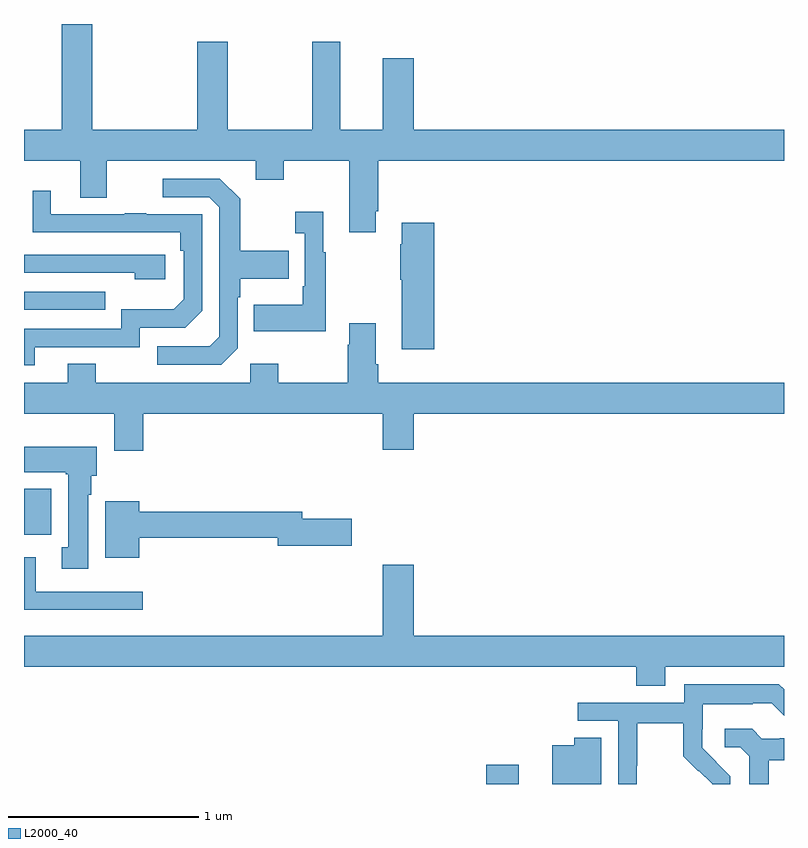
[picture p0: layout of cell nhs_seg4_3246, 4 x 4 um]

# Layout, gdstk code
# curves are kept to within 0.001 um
import gdstk
lib = gdstk.Library(unit=1e-6, precision=1e-09)
def R(c, l, rs):  # rectangles x0, y0, x1, y1
    for r in rs: c.add(gdstk.rectangle(r[:2], r[2:], *l))
def P(c, l, *ps):  # polygons
    for p in ps: c.add(gdstk.Polygon(p, *l))
L2000_40 = (2000, 40)

nhs_seg4_3246 = lib.new_cell('nhs_seg4_3246')
R(nhs_seg4_3246, L2000_40, [(285.434,766.9,285.604,767.002), (283,768.212,283.144,768.454), (283,769.395,283.427,769.491)])
P(nhs_seg4_3246, L2000_40, [(284.851,769.915),(284.864,769.915),(284.864,770.18),(287,770.18),(287,770.344),(285.052,770.344),(285.052,770.719),(284.888,770.719),(284.888,770.344),(284.665,770.344),(284.665,770.806),(284.518,770.806),(284.518,770.344),(284.073,770.344),(284.073,770.806),(283.913,770.806),(283.913,770.344),(283.358,770.344),(283.358,770.9),(283.198,770.9),(283.198,770.344),(283,770.344),(283,770.18),(283.295,770.18),(283.295,769.986),(283.435,769.986),(283.435,770.18),(284.219,770.18),(284.219,770.081),(284.367,770.081),(284.367,770.18),(284.711,770.18),(284.711,769.803),(284.851,769.803)],
  [(284.124,769.194),(284.124,769.463),(284.137,769.463),(284.137,769.559),(284.393,769.559),(284.393,769.707),(284.137,769.707),(284.137,769.979),(284.031,770.085),(283.731,770.085),(283.731,769.989),(283.974,769.989),(284.028,769.935),(284.028,769.254),(283.977,769.203),(283.701,769.203),(283.701,769.107),(284.037,769.107)],
  [(283.057,769.2),(283.608,769.2),(283.608,769.302),(283.848,769.302),(283.938,769.392),(283.938,769.899),(283.643,769.899),(283.643,769.904),(283.531,769.904),(283.531,769.899),(283.141,769.899),(283.141,770.023),(283.045,770.023),(283.045,769.804),(283.822,769.803),(283.822,769.706),(283.842,769.706),(283.842,769.452),(283.789,769.399),(283.512,769.399),(283.512,769.296),(283,769.296),(283,769.104),(283.057,769.104)],
  [(284.587,769.699),(284.575,769.699),(284.575,769.912),(284.427,769.912),(284.427,769.799),(284.478,769.799),(284.478,769.519),(284.466,769.519),(284.466,769.423),(284.209,769.423),(284.209,769.283),(284.587,769.283)],
  [(285.16,769.855),(284.987,769.855),(284.987,769.742),(284.98,769.742),(284.98,769.553),(284.987,769.553),(284.987,769.188),(285.16,769.188)],
  [(283.744,769.686),(283,769.686),(283,769.59),(283.583,769.59),(283.583,769.556),(283.744,769.556)],
  [(283.628,768.848),(284.888,768.848),(284.888,768.66),(285.052,768.66),(285.052,768.848),(287,768.848),(287,769.012),(284.864,769.012),(284.864,769.108),(284.851,769.108),(284.851,769.324),(284.711,769.324),(284.711,769.211),(284.704,769.211),(284.704,769.012),(284.337,769.012),(284.337,769.111),(284.19,769.111),(284.19,769.012),(283.377,769.012),(283.377,769.111),(283.229,769.111),(283.229,769.012),(283,769.012),(283,768.848),(283.475,768.848),(283.475,768.654),(283.628,768.654)],
  [(283.339,768.422),(283.354,768.422),(283.354,768.522),(283.384,768.522),(283.384,768.676),(283,768.676),(283,768.542),(283.219,768.542),(283.219,768.529),(283.232,768.529),(283.232,768.146),(283.199,768.146),(283.199,768.033),(283.339,768.033)],
  [(283.606,768.196),(284.336,768.196),(284.336,768.154),(284.725,768.154),(284.725,768.296),(284.464,768.296),(284.464,768.332),(283.606,768.332),(283.606,768.388),(283.427,768.388),(283.427,768.092),(283.606,768.092)],
  [(283.624,767.913),(283.063,767.913),(283.063,768.094),(283,768.094),(283,767.816),(283.624,767.816)],
  [(286.375,767.516),(287,767.516),(287,767.68),(285.052,767.68),(285.052,768.055),(284.888,768.055),(284.888,767.68),(283,767.68),(283,767.516),(286.223,767.516),(286.223,767.417),(286.375,767.417)],
  [(286.224,766.996),(286.227,766.996),(286.227,767.22),(286.471,767.22),(286.471,767.045),(286.548,766.968),(286.551,766.971),(286.622,766.9),(286.716,766.9),(286.716,766.942),(286.57,767.09),(286.57,767.187),(286.572,767.187),(286.572,767.321),(286.835,767.321),(286.835,767.325),(286.935,767.325),(287,767.26),(287,767.398),(286.973,767.425),(286.476,767.425),(286.476,767.328),(285.915,767.328),(285.915,767.232),(286.128,767.232),(286.128,766.9),(286.224,766.9)],
  [(286.921,767.024),(287,767.024),(287,767.142),(286.978,767.142),(286.978,767.139),(286.884,767.139),(286.832,767.191),(286.689,767.191),(286.689,767.094),(286.77,767.094),(286.817,767.047),(286.817,766.9),(286.921,766.9)],
  [(286.039,767.143),(285.896,767.143),(285.896,767.104),(285.779,767.104),(285.779,766.9),(286.039,766.9)])

lib.write_gds('nhs_seg4_3246.gds')
